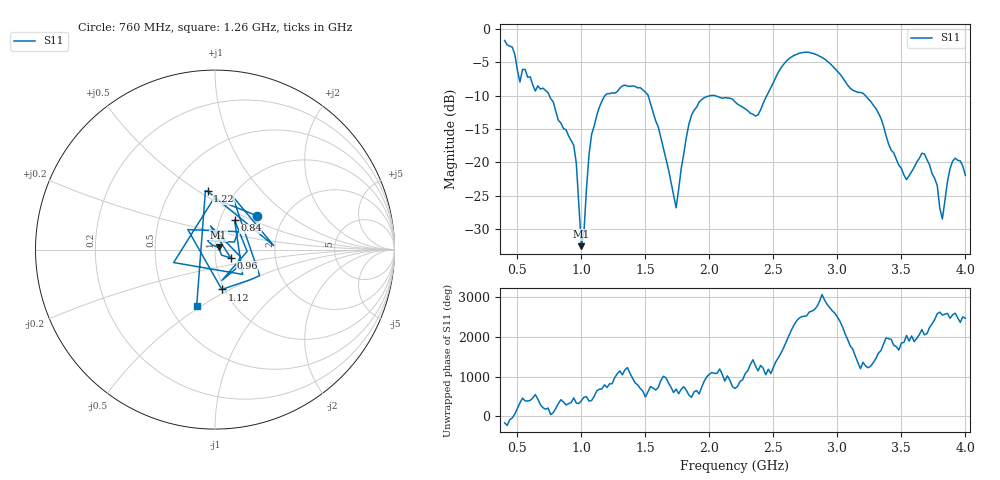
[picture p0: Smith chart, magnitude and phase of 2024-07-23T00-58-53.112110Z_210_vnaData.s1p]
!Created with skrf (http://scikit-rf.org).
# Hz S RI R 50.0
!freq ReS11 ImS11
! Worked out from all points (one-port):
!   181 points, 400 MHz to 4 GHz, reference 50 ohm
!   lowest |S11| = -32.6 dB at 1 GHz (marker M1), VSWR 1.05, Z = 52 + j1.25 ohm
!   |S11| at or under -10 dB: 750.1 MHz to 1.183 GHz (433.1 MHz wide, 44.8 % of centre); 1.522 GHz to 2.007 GHz (484.8 MHz wide, 27.5 % of centre); 3.22 GHz to end of sweep (the widest 3 of 4)
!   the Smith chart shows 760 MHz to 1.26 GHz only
!   S11 on the Smith chart (normalised r, x): 760 MHz: 1.46, +0.61; 840 MHz: 1.17, +0.40; 960 MHz: 1.19, -0.11; 1.12 GHz: 0.97, -0.46; 1.22 GHz: 0.75, +0.55; 1.26 GHz: 0.68, -0.48
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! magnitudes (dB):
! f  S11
! 400 MHz  -1.7
! 520 MHz  -7.9
! 760 MHz  -10.4
! 840 MHz  -14.1
! 860 MHz  -14.9
! 960 MHz  -20.1
! 1 GHz  -32.6
! 1.02 GHz  -30.4
! 1.06 GHz  -18.8
! 1.12 GHz  -13.0
! 1.22 GHz  -9.7
! 1.26 GHz  -9.6
! 1.3 GHz  -8.9
! 1.52 GHz  -9.9
! 1.74 GHz  -26.8
! 1.76 GHz  -24.0
! 1.84 GHz  -14.3
! 1.92 GHz  -10.9
! 2.2 GHz  -10.9
! 2.38 GHz  -12.9
! 2.66 GHz  -4.0
! 3.1 GHz  -8.9
! 3.3 GHz  -11.9
! 3.56 GHz  -22.0
! 3.68 GHz  -18.7
! 3.82 GHz  -28.5
! 3.9 GHz  -19.8
! 4 GHz  -22.0
